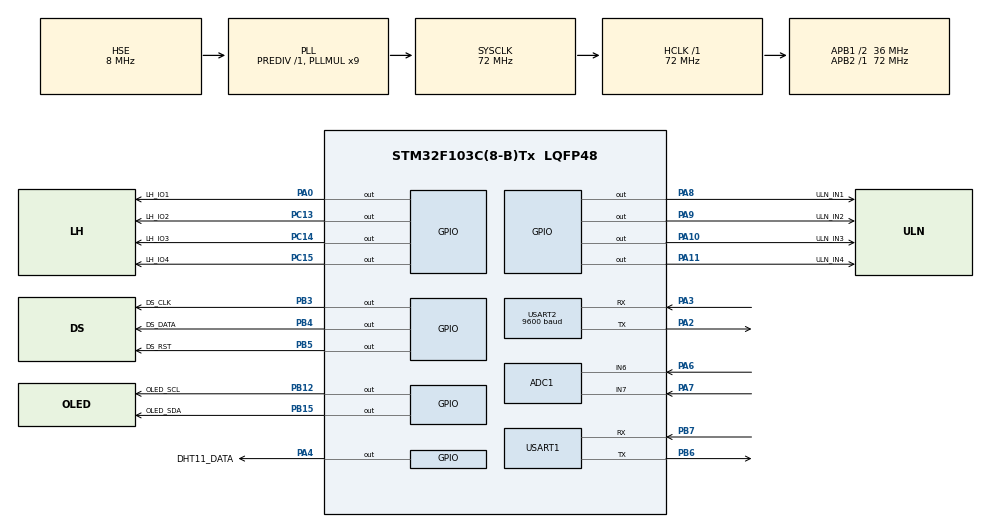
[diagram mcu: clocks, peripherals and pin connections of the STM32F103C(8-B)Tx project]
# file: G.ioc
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ADC1.Channel-0\#ChannelRegularConversion=ADC_CHANNEL_6
ADC1.Channel-1\#ChannelRegularConversion=ADC_CHANNEL_7
ADC1.DiscontinuousConvMode=ENABLE
ADC1.NbrOfConversion=2
ADC1.NbrOfConversionFlag=1
ADC1.Rank-0\#ChannelRegularConversion=1
ADC1.Rank-1\#ChannelRegularConversion=2
ADC1.SamplingTime-0\#ChannelRegularConversion=ADC_SAMPLETIME_239CYCLES_5
ADC1.SamplingTime-1\#ChannelRegularConversion=ADC_SAMPLETIME_239CYCLES_5
ADC1.master=1
Mcu.Family=STM32F1
Mcu.Name=STM32F103C(8-B)Tx
Mcu.Package=LQFP48
NVIC.PriorityGroup=NVIC_PRIORITYGROUP_4
NVIC.USART1_IRQn=true\:0\:0\:false\:false\:true\:true\:true\:true
NVIC.USART2_IRQn=true\:0\:0\:false\:false\:true\:true\:true\:true
PA0-WKUP.GPIO_Label=LH_IO1
PA0-WKUP.GPIO_ModeDefaultOutputPP=GPIO_MODE_OUTPUT_PP
PA0-WKUP.GPIO_PuPd=GPIO_PULLUP
PA0-WKUP.GPIO_Speed=GPIO_SPEED_FREQ_HIGH
PA0-WKUP.PinState=GPIO_PIN_RESET
PA0-WKUP.Signal=GPIO_Output
PA10.GPIO_Label=ULN_IN3
PA10.GPIO_ModeDefaultOutputPP=GPIO_MODE_OUTPUT_PP
PA10.GPIO_PuPd=GPIO_NOPULL
PA10.GPIO_Speed=GPIO_SPEED_FREQ_HIGH
PA10.PinState=GPIO_PIN_RESET
PA10.Signal=GPIO_Output
PA11.GPIO_Label=ULN_IN4
PA11.GPIO_ModeDefaultOutputPP=GPIO_MODE_OUTPUT_PP
PA11.GPIO_PuPd=GPIO_NOPULL
PA11.GPIO_Speed=GPIO_SPEED_FREQ_HIGH
PA11.PinState=GPIO_PIN_RESET
PA11.Signal=GPIO_Output
PA13.Mode=Serial_Wire
PA13.Signal=SYS_JTMS-SWDIO
PA14.Mode=Serial_Wire
PA14.Signal=SYS_JTCK-SWCLK
PA2.Mode=Asynchronous
PA2.Signal=USART2_TX
PA3.Mode=Asynchronous
PA3.Signal=USART2_RX
PA4.GPIO_Label=DHT11_DATA
PA4.GPIO_ModeDefaultOutputPP=GPIO_MODE_OUTPUT_PP
PA4.GPIO_PuPd=GPIO_NOPULL
PA4.GPIO_Speed=GPIO_SPEED_FREQ_HIGH
PA4.PinState=GPIO_PIN_RESET
PA4.Signal=GPIO_Output
PA6.Signal=ADCx_IN6
PA7.Signal=ADCx_IN7
PA8.GPIO_Label=ULN_IN1
PA8.GPIO_ModeDefaultOutputPP=GPIO_MODE_OUTPUT_PP
PA8.GPIO_PuPd=GPIO_NOPULL
PA8.GPIO_Speed=GPIO_SPEED_FREQ_HIGH
PA8.PinState=GPIO_PIN_RESET
PA8.Signal=GPIO_Output
PA9.GPIO_Label=ULN_IN2
PA9.GPIO_ModeDefaultOutputPP=GPIO_MODE_OUTPUT_PP
PA9.GPIO_PuPd=GPIO_NOPULL
PA9.GPIO_Speed=GPIO_SPEED_FREQ_HIGH
PA9.PinState=GPIO_PIN_RESET
PA9.Signal=GPIO_Output
PB12.GPIO_Label=OLED_SCL
PB12.GPIO_ModeDefaultOutputPP=GPIO_MODE_OUTPUT_PP
PB12.GPIO_PuPd=GPIO_NOPULL
PB12.GPIO_Speed=GPIO_SPEED_FREQ_HIGH
PB12.PinState=GPIO_PIN_RESET
PB12.Signal=GPIO_Output
PB15.GPIO_Label=OLED_SDA
PB15.GPIO_ModeDefaultOutputPP=GPIO_MODE_OUTPUT_PP
PB15.GPIO_PuPd=GPIO_NOPULL
PB15.GPIO_Speed=GPIO_SPEED_FREQ_HIGH
PB15.PinState=GPIO_PIN_RESET
PB15.Signal=GPIO_Output
PB3.GPIO_Label=DS_CLK
PB3.GPIO_Speed=GPIO_SPEED_FREQ_HIGH
PB3.Signal=GPIO_Output
PB4.GPIO_Label=DS_DATA
PB4.GPIO_Speed=GPIO_SPEED_FREQ_HIGH
PB4.Signal=GPIO_Output
PB5.GPIO_Label=DS_RST
PB5.GPIO_Speed=GPIO_SPEED_FREQ_HIGH
PB5.Signal=GPIO_Output
PB6.Mode=Asynchronous
PB6.Signal=USART1_TX
PB7.Mode=Asynchronous
PB7.Signal=USART1_RX
PC13-TAMPER-RTC.GPIO_Label=LH_IO2
PC13-TAMPER-RTC.GPIO_ModeDefaultOutputPP=GPIO_MODE_OUTPUT_PP
PC13-TAMPER-RTC.GPIO_PuPd=GPIO_PULLUP
PC13-TAMPER-RTC.GPIO_Speed=GPIO_SPEED_FREQ_HIGH
PC13-TAMPER-RTC.PinState=GPIO_PIN_RESET
PC13-TAMPER-RTC.Signal=GPIO_Output
PC14-OSC32_IN.GPIO_Label=LH_IO3
PC14-OSC32_IN.GPIO_ModeDefaultOutputPP=GPIO_MODE_OUTPUT_PP
PC14-OSC32_IN.GPIO_PuPd=GPIO_PULLUP
PC14-OSC32_IN.GPIO_Speed=GPIO_SPEED_FREQ_HIGH
PC14-OSC32_IN.PinState=GPIO_PIN_RESET
PC14-OSC32_IN.Signal=GPIO_Output
PC15-OSC32_OUT.GPIO_Label=LH_IO4
PC15-OSC32_OUT.GPIO_ModeDefaultOutputPP=GPIO_MODE_OUTPUT_PP
PC15-OSC32_OUT.GPIO_PuPd=GPIO_PULLUP
PC15-OSC32_OUT.GPIO_Speed=GPIO_SPEED_FREQ_HIGH
PC15-OSC32_OUT.PinState=GPIO_PIN_RESET
PC15-OSC32_OUT.Signal=GPIO_Output
PD0-OSC_IN.Mode=HSE-External-Oscillator
PD0-OSC_IN.Signal=RCC_OSC_IN
PD1-OSC_OUT.Mode=HSE-External-Oscillator
PD1-OSC_OUT.Signal=RCC_OSC_OUT
ProjectManager.HeapSize=0x200
ProjectManager.StackSize=0x400
ProjectManager.TargetToolchain=MDK-ARM V5.32
RCC.ADCPresc=RCC_ADCPCLK2_DIV6
RCC.AHBFreq_Value=72000000
RCC.APB1CLKDivider=RCC_HCLK_DIV2
RCC.APB1Freq_Value=36000000
RCC.APB1TimFreq_Value=72000000
RCC.APB2Freq_Value=72000000
RCC.APB2TimFreq_Value=72000000
RCC.HCLKFreq_Value=72000000
RCC.PLLMUL=RCC_PLL_MUL9
RCC.PLLSourceVirtual=RCC_PLLSOURCE_HSE
RCC.SYSCLKFreq_VALUE=72000000
RCC.SYSCLKSource=RCC_SYSCLKSOURCE_PLLCLK
RCC.USBFreq_Value=72000000
SH.ADCx_IN6.0=ADC1_IN6,IN6
SH.ADCx_IN7.0=ADC1_IN7,IN7
USART1.VirtualMode=VM_ASYNC
USART2.BaudRate=9600
USART2.VirtualMode=VM_ASYNC
board=custom

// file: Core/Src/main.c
/* USER CODE BEGIN Header */
/**
  ******************************************************************************
  * @file           : main.c
  * @brief          : Main program body
  ******************************************************************************
  * @attention
  *
  * Copyright (c) 2025 STMicroelectronics.
  * All rights reserved.
  *
  * This software is licensed under terms that can be found in the LICENSE file
  * in the root directory of this software component.
  * If no LICENSE file comes with this software, it is provided AS-IS.
  *
  ******************************************************************************
  */
/* USER CODE END Header */
#include "main.h"
#include "adc.h"
#include "usart.h"
#include "gpio.h"
#include "stdio.h"
#include "string.h"
#include "oled.h"
#include "uln2003.h"
#include "ds1302.h"
#include "bt04a.h"
#include "dht11.h"

void SystemClock_Config(void);
/* USER CODE BEGIN PFP */
void OLED_Pro(void);
void DATA_Pro(void);
void ALARM_Pro(void);
/* USER CODE END PFP */

/* USER CODE BEGIN 0 */
extern float ADC_VAL[2];
extern struct TIMEData TimeData;
extern int rec_data[4];
uint8_t mode = 0;
uint8_t oled[100] = {0};
uint8_t GM_Flag = 0;//窗帘开关标志位
uint8_t JG_Flag = 0;
uint8_t CL_Flag = 0;
/* USER CODE END 0 */

int main(void)
{

  /* MCU Configuration--------------------------------------------------------*/

  /* Reset of all peripherals, Initializes the Flash interface and the Systick. */
  HAL_Init();

  /* Configure the system clock */
  SystemClock_Config();

  /* Initialize all configured peripherals */
  MX_GPIO_Init();
  MX_ADC1_Init();
  MX_USART1_UART_Init();
  MX_USART2_UART_Init();
	BT04A_Init();
	ds1302_init();
	OLED_Init();
	OLED_Clear();
  /* Infinite loop */
  while (1)
  {
		DATA_Pro();
		OLED_Pro();
		ALARM_Pro();
  }
}

void SystemClock_Config(void)
{
  RCC_OscInitTypeDef RCC_OscInitStruct = {0};
  RCC_ClkInitTypeDef RCC_ClkInitStruct = {0};
  RCC_PeriphCLKInitTypeDef PeriphClkInit = {0};

  /** Initializes the RCC Oscillators according to the specified parameters
  * in the RCC_OscInitTypeDef structure.
  */
  RCC_OscInitStruct.OscillatorType = RCC_OSCILLATORTYPE_HSE;
  RCC_OscInitStruct.HSEState = RCC_HSE_ON;
  RCC_OscInitStruct.HSEPredivValue = RCC_HSE_PREDIV_DIV1;
  RCC_OscInitStruct.HSIState = RCC_HSI_ON;
  RCC_OscInitStruct.PLL.PLLState = RCC_PLL_ON;
  RCC_OscInitStruct.PLL.PLLSource = RCC_PLLSOURCE_HSE;
  RCC_OscInitStruct.PLL.PLLMUL = RCC_PLL_MUL9;
  if (HAL_RCC_OscConfig(&RCC_OscInitStruct) != HAL_OK)
  {
    Error_Handler();
  }

  /** Initializes the CPU, AHB and APB buses clocks
  */
  RCC_ClkInitStruct.ClockType = RCC_CLOCKTYPE_HCLK|RCC_CLOCKTYPE_SYSCLK
                              |RCC_CLOCKTYPE_PCLK1|RCC_CLOCKTYPE_PCLK2;
  RCC_ClkInitStruct.SYSCLKSource = RCC_SYSCLKSOURCE_PLLCLK;
  RCC_ClkInitStruct.AHBCLKDivider = RCC_SYSCLK_DIV1;
  RCC_ClkInitStruct.APB1CLKDivider = RCC_HCLK_DIV2;
  RCC_ClkInitStruct.APB2CLKDivider = RCC_HCLK_DIV1;

  if (HAL_RCC_ClockConfig(&RCC_ClkInitStruct, FLASH_LATENCY_2) != HAL_OK)
  {
    Error_Handler();
  }
  PeriphClkInit.PeriphClockSelection = RCC_PERIPHCLK_ADC;
  PeriphClkInit.AdcClockSelection = RCC_ADCPCLK2_DIV6;
  if (HAL_RCCEx_PeriphCLKConfig(&PeriphClkInit) != HAL_OK)
  {
    Error_Handler();
  }
}

/* USER CODE BEGIN 4 */
void OLED_Pro(void)
{
	//标题
	OLED_ShowChinese(16,0,7,16,1);
	OLED_ShowChinese(32,0,8,16,1);
	OLED_ShowChinese(48,0,9,16,1);
	OLED_ShowChinese(64,0,10,16,1);
	OLED_ShowChinese(80,0,11,16,1);
	OLED_ShowChinese(96,0,12,16,1);
	//年月日 窗帘状态
	OLED_ShowNum(24,16,TimeData.year,4,16,1);
	OLED_ShowChar(56,16,'_',16,1);
	OLED_ShowNum(64,16,TimeData.month,2,16,1);
	OLED_ShowChar(80,16,'_',16,1);
	OLED_ShowNum(88,16,TimeData.day,2,16,1);
	if(CL_Flag == 0)
		OLED_ShowChinese(0,16,20,16,1);
	else
		OLED_ShowChinese(0,16,19,16,1);
	//温度
	OLED_ShowNum(0,32,rec_data[0],2,16,1);
	OLED_ShowChar(16,32,'.',16,1);
	OLED_ShowNum(24,32,rec_data[1],2,16,1);
	//时钟
	OLED_ShowNum(45,32,TimeData.minute,2,16,1);
	OLED_ShowChar(61,32,':',16,1);
	OLED_ShowNum(67,32,TimeData.second,2,16,1);
	//湿度
	OLED_ShowNum(89,32,rec_data[2],2,16,1);
	OLED_ShowChar(105,32,'.',16,1);
	OLED_ShowNum(113,32,rec_data[3],2,16,1);
	//状态栏
	OLED_ShowChinese(0,48,2,16,1);
	OLED_ShowChinese(16,48,3,16,1);
	OLED_ShowChar(32,48,':',16,1);
	if(mode == 0)
	{
		OLED_ShowChinese(40,48,4,16,1);
		OLED_ShowChinese(56,48,5,16,1);
	}
	else
	{
		OLED_ShowChinese(40,48,6,16,1);
		OLED_ShowChinese(56,48,5,16,1);
	}
	if(JG_Flag == 0)
	{
		OLED_ShowChinese(88,48,15,16,1);
		OLED_ShowChinese(104,48,16,16,1);
	}
	else
	{
		OLED_ShowChinese(88,48,17,16,1);
		OLED_ShowChinese(104,48,18,16,1);
	}
}

void DATA_Pro(void)
{
	ds1302_read_realTime();
	adc_read();
	DHT11_REC_Data();
	BT04A_DATA_Pro();
}

void ALARM_Pro(void)
{
	if(mode == 0)
	{
		if(JG_Flag != 1)
		{
			if(ADC_VAL[1] > 1.0f && GM_Flag == 0)
			{
				CL_Flag = 1;
				BT04A_SendString("cl_k");
				YJ45_Start();
				GM_Flag = 1;
			}
			else if(ADC_VAL[1] < 1.0f && GM_Flag == 1)
			{
				CL_Flag = 0;
				BT04A_SendString("cl_g");
				YJ45_Start();
				GM_Flag = 0;
			}
		}
		if(ADC_VAL[0] < 1.0f && JG_Flag == 0)
		{
			JG_Flag = 1;
			BT04A_SendString("jg");

			HAL_GPIO_WritePin(GPIOA,GPIO_PIN_0,GPIO_PIN_RESET);
			HAL_Delay(300);
			HAL_GPIO_WritePin(GPIOA,GPIO_PIN_0,GPIO_PIN_SET);
		}
		else if(ADC_VAL[0] > 1.0f && JG_Flag == 1)
		{
			CL_Flag = 0;
			JG_Flag = 0;
		}
	}
}
/* USER CODE END 4 */

void Error_Handler(void)
{
  __disable_irq();
  while (1)
  {
  }
}
